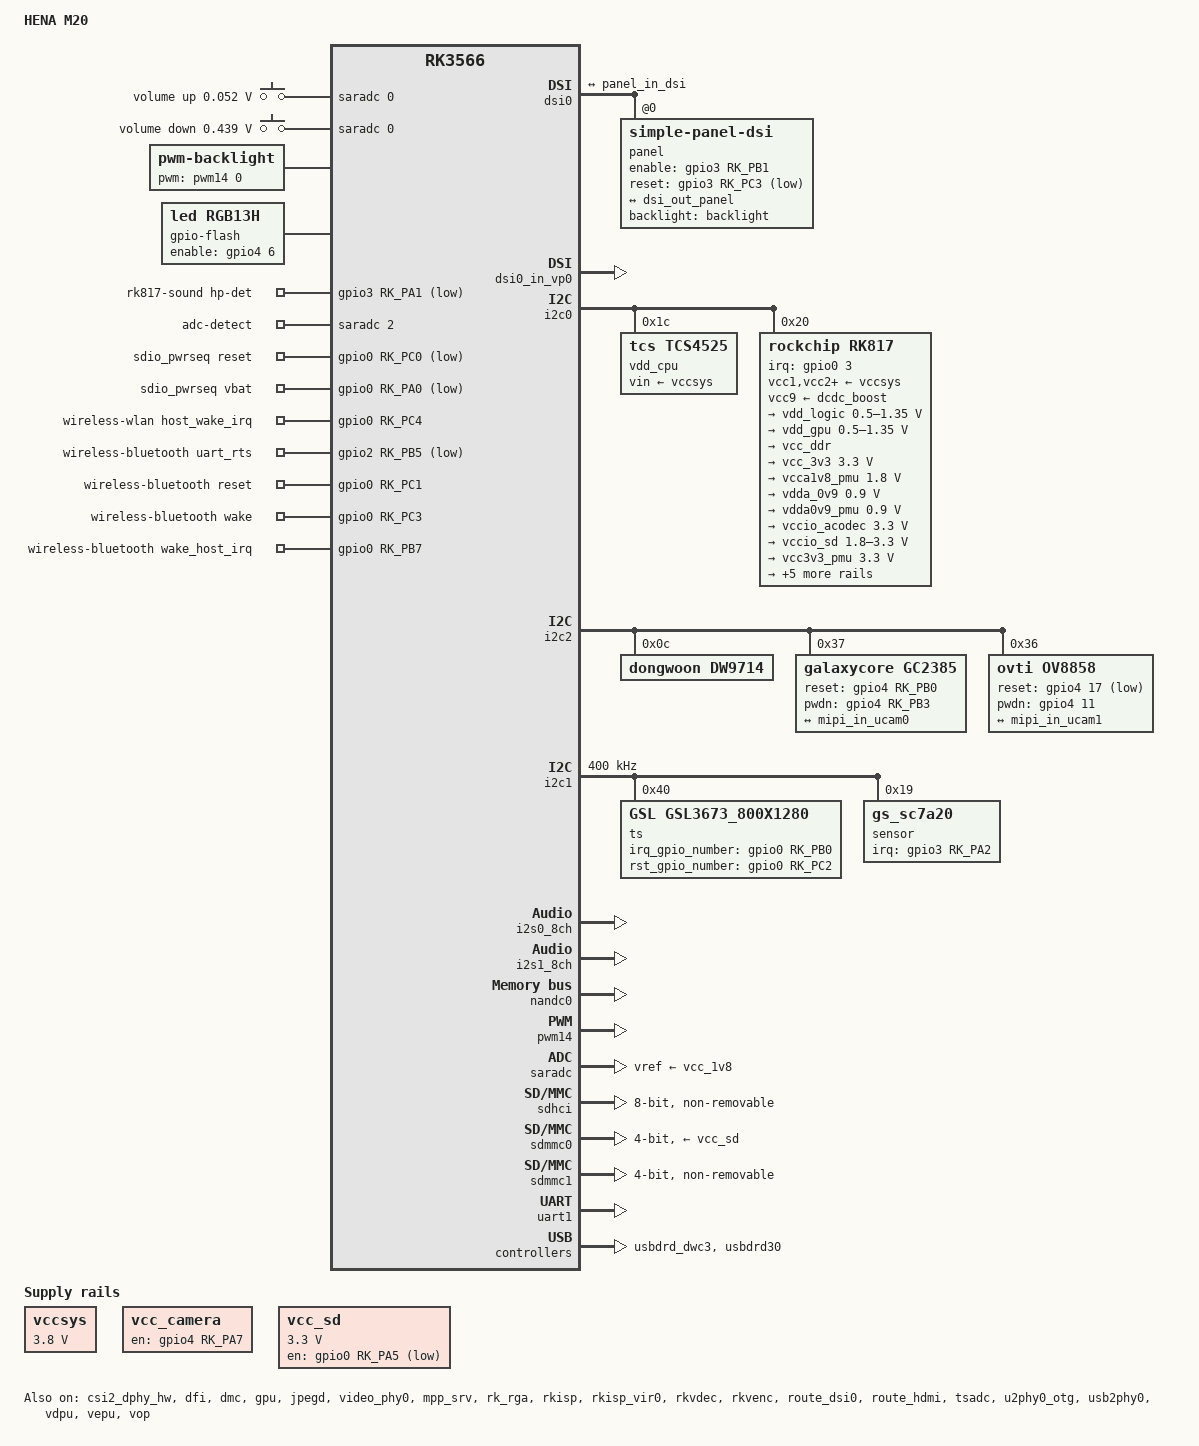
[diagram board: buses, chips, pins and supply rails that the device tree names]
// SPDX-License-Identifier: (GPL-2.0+ OR MIT)

/dts-v1/;
#include <dt-bindings/gpio/gpio.h>
#include <dt-bindings/pinctrl/rockchip.h>
#include <dt-bindings/input/rk-input.h>
#include <dt-bindings/sensor-dev.h>
#include <dt-bindings/display/drm_mipi_dsi.h>
#include "rk3566.dtsi"
#include "rk3568-android.dtsi"

/ {
	model = "HENA M20";
	compatible = "rockchip,rk3566";
	chassis-type = "tablet";

	adc_keys: adc-keys {
		compatible = "adc-keys";
		io-channels = <&saradc 0>;
		io-channel-names = "buttons";
		keyup-threshold-microvolt = <1800000>;
		poll-interval = <100>;

		vol-up-key {
			label = "volume up";
			linux,code = <KEY_VOLUMEUP>;
			press-threshold-microvolt = <52000>;
		};

		vol-down-key {
			label = "volume down";
			linux,code = <KEY_VOLUMEDOWN>;
			press-threshold-microvolt = <439000>;
		};
	};

	backlight: backlight {
		compatible = "pwm-backlight";
		pwms = <&pwm14 0 25000 0>; // bsp
		brightness-levels = <
			  0  20  20  21  21  22  22  23
			 23  24  24  25  25  26  26  27
			 27  28  28  29  29  30  30  31
			 31  32  32  33  33  34  34  35
			 35  36  36  37  37  38  38  39
			 40  41  42  43  44  45  46  47
			 48  49  50  50  51  52  53  54
			 55  55  56  57  58  59  60  61
			 62  63  64  64  65  65  66  67
			 68  69  70  71  71  72  73  74
			 75  76  77  78  79  79  80  81
			 82  83  84  85  86  86  87  88
			 89  90  91  92  93  94  94  95
			 96  97  98  99 100 101 101 102
			103 104 105 106 107 107 108 109
			110 111 112 113 114 115 115 116
			117 118 119 120 121 122 123 123
			124 125 126 127 128 129 130 130
			131 132 133 134 135 136 136 137
			138 139 140 141 142 143 143 144
			145 146 147 147 148 149 150 151
			152 153 154 155 156 156 157 158
			159 157 158 159 160 161 162 162
			163 164 165 166 167 168 169 169
			170 171 172 173 174 175 175 176
			177 178 179 180 181 182 182 183
			184 185 186 187 188 189 190 190
			191 192 193 194 195 196 197 197
			198 199 200 201 202 203 204 204
			205 206 207 208 209 209 210 211
			212 213 213 214 214 215 215 216
			216 217 217 218 218 219 219 220
		>;
		default-brightness-level = <200>;
	};

	charge-animation {
		compatible = "rockchip,uboot-charge";
		rockchip,uboot-charge-on = <1>;
		rockchip,android-charge-on = <0>;
		rockchip,uboot-low-power-voltage = <3350>;
		rockchip,screen-on-voltage = <3400>;
		status = "okay";
	};

	flash_rgb13h: flash-rgb13h {
		status = "okay";
		compatible = "led,rgb13h";
		label = "gpio-flash";
		pinctrl-names = "default";
		pinctrl-0 = <&flash_led_gpios>;
		led-max-microamp = <20000>;
		flash-max-microamp = <20000>;
		flash-max-timeout-us = <1000000>;
		enable-gpio = <&gpio4 6 GPIO_ACTIVE_HIGH>; // bsp
		rockchip,camera-module-index = <0>;
		rockchip,camera-module-facing = "back";
	};

	vccsys: vccsys {
		compatible = "regulator-fixed";
		regulator-name = "vcc3v8_sys";
		regulator-always-on;
		regulator-boot-on;
		regulator-min-microvolt = <3800000>;
		regulator-max-microvolt = <3800000>;
	};

	vcc_camera: vcc-camera-regulator {
		compatible = "regulator-fixed";
		gpio = <&gpio4 RK_PA7 GPIO_ACTIVE_HIGH>;
		pinctrl-names = "default";
		pinctrl-0 = <&camera_rst>;
		regulator-name = "vcc_camera";
		enable-active-high;
		regulator-always-on;
		regulator-boot-on;
	};

	rk817-sound {
		compatible = "rockchip,multicodecs-card";
		rockchip,card-name = "rockchip-rk817";
		hp-det-gpio = <&gpio3 RK_PA1 GPIO_ACTIVE_LOW>; // bsp
		io-channels = <&saradc 2>;
		io-channel-names = "adc-detect";
		keyup-threshold-microvolt = <1800000>;
		poll-interval = <100>;
		rockchip,format = "i2s";
		rockchip,mclk-fs = <256>;
		rockchip,cpu = <&i2s1_8ch>;
		rockchip,codec = <&rk817_codec>;
		pinctrl-names = "default";
		pinctrl-0 = <&hp_det>;
		play-pause-key {
			label = "playpause";
			linux,code = <KEY_PLAYPAUSE>;
			press-threshold-microvolt = <2000>;
		};
	};

	sdio_pwrseq: sdio-pwrseq {
		compatible = "mmc-pwrseq-simple";
		clocks = <&rk817 1>;
		clock-names = "ext_clock";
		pinctrl-names = "default";
		pinctrl-0 = <&wifi_enable_h &wifi_vbat>;

		post-power-on-delay-ms = <200>;
		reset-gpios = <&gpio0 RK_PC0 GPIO_ACTIVE_LOW>; // bsp
		vbat-gpios = <&gpio0 RK_PA0 GPIO_ACTIVE_LOW>; // bsp
	};

	vcc_sd: vcc-sd {
		compatible = "regulator-gpio";
		enable-active-low;
		enable-gpio = <&gpio0 RK_PA5 GPIO_ACTIVE_LOW>; // bsp
		regulator-min-microvolt = <3300000>;
		regulator-max-microvolt = <3300000>;
		pinctrl-names = "default";
		pinctrl-0 = <&vcc_sd_h>;
		regulator-name = "vcc_sd";
		states = <3300000 0x0 3300000 0x1>;
	};

	wireless-wlan {
		compatible = "wlan-platdata";
		rockchip,grf = <&grf>;
		wifi_chip_type = "rtl8723cs";
		pinctrl-names = "default";
		pinctrl-0 = <&wifi_host_wake_irq>;
		WIFI,host_wake_irq = <&gpio0 RK_PC4 GPIO_ACTIVE_HIGH>; // bsp
		status = "okay";
	};

	wireless-bluetooth {
		compatible = "bluetooth-platdata";
		clocks = <&rk817 1>;
		clock-names = "ext_clock";
		//wifi-bt-power-toggle;
		uart_rts_gpios = <&gpio2 RK_PB5 GPIO_ACTIVE_LOW>; // bsp
		pinctrl-names = "default", "rts_gpio";
		pinctrl-0 = <&uart1m0_rtsn>; // bsp
		pinctrl-1 = <&uart1_gpios>,
					<&bt_reset_gpio>,
					<&bt_wake_gpio>,
					<&bt_irq_gpio>;
		BT,reset_gpio    = <&gpio0 RK_PC1 GPIO_ACTIVE_HIGH>;
		BT,wake_gpio     = <&gpio0 RK_PC3 GPIO_ACTIVE_HIGH>;
		BT,wake_host_irq = <&gpio0 RK_PB7 GPIO_ACTIVE_HIGH>;
		status = "okay";
	};
};

&cpu0 {
	cpu-supply = <&vdd_cpu>;
};

&csi2_dphy_hw {
	status = "okay";
};

&csi2_dphy1 {
	// status = "okay";

	ports {
		#address-cells = <1>;
		#size-cells = <0>;
		port@0 {
			reg = <0>;
			#address-cells = <1>;
			#size-cells = <0>;

			mipi_in_ucam0: endpoint@0 {
				reg = <0>;
				remote-endpoint = <&gc2385_out>;
				data-lanes = <1>;
			};
			mipi_in_ucam1: endpoint@1 {
				reg = <1>;
				remote-endpoint = <&ov8858_out>;
				data-lanes = <1 2 3 4>;
			};
		};
		port@1 {
			reg = <1>;
			#address-cells = <1>;
			#size-cells = <0>;

			csidphy0_out: endpoint@0 {
				reg = <0>;
				remote-endpoint = <&isp0_in>;
			};
		};
	};
};

&dfi {
	status = "okay";
};

&dmc {
	center-supply = <&vdd_logic>;
	status = "okay";
};

&dsi0 {
	status = "okay";
	rockchip,lane-rate = <1000>;
	panel@0 {
		compatible = "simple-panel-dsi";
		reg = <0>;

		backlight = <&backlight>;
		//power-supply=<&vcc_3v3>;
		enable-gpios = <&gpio3 RK_PB1 GPIO_ACTIVE_HIGH>;
		reset-gpios = <&gpio3 RK_PC3 GPIO_ACTIVE_LOW>;

		pinctrl-names = "default";
		pinctrl-0 = <&lcd_enable_gpio>, <&lcd_rst_gpio>;

		prepare-delay-ms = <20>;
		reset-delay-ms = <20>;
		init-delay-ms = <20>;
		enable-delay-ms = <120>;
		disable-delay-ms = <20>;
		unprepare-delay-ms = <20>;

		width-mm = <135>;
		height-mm = <216>;

		dsi,flags = <(MIPI_DSI_MODE_VIDEO | MIPI_DSI_MODE_VIDEO_BURST |
			      MIPI_DSI_MODE_LPM | MIPI_DSI_MODE_NO_EOT_PACKET)>;
		dsi,format = <MIPI_DSI_FMT_RGB888>;
		dsi,lanes = <4>;

		panel-init-sequence = [
			15 00 02 E0 00
			15 00 02 E1 93
			15 00 02 E2 65
			15 00 02 E3 F8
			15 00 02 80 03
			15 00 02 E0 04
			15 00 02 2D 03
			15 00 02 09 14
			15 00 02 E0 01
			15 00 02 00 00
			15 00 02 01 6F
			15 00 02 03 00
			15 00 02 04 6F
			15 00 02 0C 74
			15 00 02 17 10
			15 00 02 18 17
			15 00 02 19 00
			15 00 02 1A 10
			15 00 02 1B 17
			15 00 02 1C 00
			15 00 02 1F 7E
			15 00 02 20 24
			15 00 02 21 24
			15 00 02 22 0E
			15 00 02 37 09
			15 00 02 38 04
			15 00 02 39 08
			15 00 02 3A 12
			15 00 02 3C 78
			15 00 02 3D FF
			15 00 02 3E FF
			15 00 02 3F 7F
			15 00 02 40 06
			15 00 02 41 A0
			15 00 02 4B 04
			15 00 02 55 01
			15 00 02 56 01
			15 00 02 57 65
			15 00 02 58 08
			15 00 02 59 28
			15 00 02 5A 2B
			15 00 02 5B 13
			15 00 02 5D 70
			15 00 02 5E 5E
			15 00 02 5F 50
			15 00 02 60 45
			15 00 02 61 42
			15 00 02 62 33
			15 00 02 63 37
			15 00 02 64 21
			15 00 02 65 39
			15 00 02 66 36
			15 00 02 67 36
			15 00 02 68 54
			15 00 02 69 41
			15 00 02 6A 4A
			15 00 02 6B 3D
			15 00 02 6C 3A
			15 00 02 6D 2F
			15 00 02 6E 1F
			15 00 02 6F 02
			15 00 02 70 70
			15 00 02 71 5E
			15 00 02 72 50
			15 00 02 73 45
			15 00 02 74 42
			15 00 02 75 33
			15 00 02 76 37
			15 00 02 77 21
			15 00 02 78 39
			15 00 02 79 36
			15 00 02 7A 36
			15 00 02 7B 54
			15 00 02 7C 41
			15 00 02 7D 4A
			15 00 02 7E 3D
			15 00 02 7F 3A
			15 00 02 80 2F
			15 00 02 81 1F
			15 00 02 82 02
			15 00 02 E0 02
			15 00 02 00 1E
			15 00 02 01 1F
			15 00 02 02 17
			15 00 02 03 37
			15 00 02 04 08
			15 00 02 05 0A
			15 00 02 06 04
			15 00 02 07 06
			15 00 02 08 00
			15 00 02 09 1F
			15 00 02 0A 1F
			15 00 02 0B 1F
			15 00 02 0C 1F
			15 00 02 0D 1F
			15 00 02 0E 1F
			15 00 02 0F 02
			15 00 02 10 1F
			15 00 02 11 1F
			15 00 02 12 1F
			15 00 02 13 1F
			15 00 02 14 1F
			15 00 02 15 1F
			15 00 02 16 1E
			15 00 02 17 1F
			15 00 02 18 17
			15 00 02 19 37
			15 00 02 1A 09
			15 00 02 1B 0B
			15 00 02 1C 05
			15 00 02 1D 07
			15 00 02 1E 01
			15 00 02 1F 1F
			15 00 02 20 1F
			15 00 02 21 1F
			15 00 02 22 1F
			15 00 02 23 1F
			15 00 02 24 1F
			15 00 02 25 03
			15 00 02 26 1F
			15 00 02 27 1F
			15 00 02 28 1F
			15 00 02 29 1F
			15 00 02 2A 1F
			15 00 02 2B 1F
			15 00 02 2C 1F
			15 00 02 2D 1E
			15 00 02 2E 17
			15 00 02 2F 37
			15 00 02 30 07
			15 00 02 31 05
			15 00 02 32 0B
			15 00 02 33 09
			15 00 02 34 03
			15 00 02 35 1F
			15 00 02 36 1F
			15 00 02 37 1F
			15 00 02 38 1F
			15 00 02 39 1F
			15 00 02 3A 1F
			15 00 02 3B 01
			15 00 02 3C 1F
			15 00 02 3D 1F
			15 00 02 3E 1F
			15 00 02 3F 1F
			15 00 02 40 1F
			15 00 02 41 1F
			15 00 02 42 1F
			15 00 02 43 1E
			15 00 02 44 17
			15 00 02 45 37
			15 00 02 46 06
			15 00 02 47 04
			15 00 02 48 0A
			15 00 02 49 08
			15 00 02 4A 02
			15 00 02 4B 1F
			15 00 02 4C 1F
			15 00 02 4D 1F
			15 00 02 4E 1F
			15 00 02 4F 1F
			15 00 02 50 1F
			15 00 02 51 00
			15 00 02 52 1F
			15 00 02 53 1F
			15 00 02 54 1F
			15 00 02 55 1F
			15 00 02 56 1F
			15 00 02 57 1F
			15 00 02 58 10
			15 00 02 59 00
			15 00 02 5A 00
			15 00 02 5B 30
			15 00 02 5C 05
			15 00 02 5D 30
			15 00 02 5E 01
			15 00 02 5F 02
			15 00 02 60 30
			15 00 02 61 03
			15 00 02 62 04
			15 00 02 63 03
			15 00 02 64 6A
			15 00 02 65 75
			15 00 02 66 0D
			15 00 02 67 73
			15 00 02 68 09
			15 00 02 69 06
			15 00 02 6A 6A
			15 00 02 6B 08
			15 00 02 6C 00
			15 00 02 6D 0C
			15 00 02 6E 04
			15 00 02 6F 88
			15 00 02 70 00
			15 00 02 71 00
			15 00 02 72 06
			15 00 02 73 7B
			15 00 02 74 00
			15 00 02 75 80
			15 00 02 76 00
			15 00 02 77 0D
			15 00 02 78 24
			15 00 02 79 00
			15 00 02 7A 00
			15 00 02 7B 00
			15 00 02 7C 00
			15 00 02 7D 03
			15 00 02 7E 7B
			15 00 02 E0 04
			15 00 02 09 10
			15 00 02 2B 2B
			15 00 02 2E 44
			15 00 02 E0 00
			15 00 02 E6 02
			15 00 02 E7 02
			05 78 01 11
			05 14 01 29
			15 00 02 35 00
		];

		panel-exit-sequence = [
			05 00 01 28
			05 00 01 10
		];

		display-timings {
			native-mode = <&timing0>;

			timing0: timing0 {
				clock-frequency = <70000000>;
				hactive = <800>;
				vactive = <1280>;

				hfront-porch = <40>;
				hsync-len = <20>;
				hback-porch = <20>;

				vfront-porch = <20>;
				vsync-len = <4>;
				vback-porch = <20>;

				hsync-active = <0>;
				vsync-active = <0>;
				de-active = <0>;
				pixelclk-active = <1>;
			};
		};

		ports {
			#address-cells = <1>;
			#size-cells = <0>;

			port@0 {
				reg = <0>;
				panel_in_dsi: endpoint {
					remote-endpoint = <&dsi_out_panel>;
				};
			};
		};
	};

	ports {
		#address-cells = <1>;
		#size-cells = <0>;

		port@1 {
			reg = <1>;
			dsi_out_panel: endpoint {
				remote-endpoint = <&panel_in_dsi>;
			};
		};
	};

};

&dsi0_in_vp0 {
	status = "okay";
};

&dsi0_in_vp1 {
	status = "disabled";
};

&gpu {
	mali-supply = <&vdd_gpu>;
	status = "okay";
};

&i2c0 {
	status = "okay";

	vdd_cpu: tcs4525@1c {
		compatible = "tcs,tcs4525";
		reg = <0x1c>;
		vin-supply = <&vccsys>;
		regulator-compatible = "fan53555-reg";
		regulator-name = "vdd_cpu";
		regulator-min-microvolt = <712500>;
		regulator-max-microvolt = <1390000>;
		regulator-init-microvolt = <900000>;
		regulator-ramp-delay = <2300>;
		fcs,suspend-voltage-selector = <1>;
		regulator-boot-on;
		regulator-always-on;
		regulator-state-mem {
			regulator-off-in-suspend;
		};
	};

	rk817: pmic@20 {
		compatible = "rockchip,rk817";
		reg = <0x20>;
		interrupt-parent = <&gpio0>;
		interrupts = <3 IRQ_TYPE_LEVEL_LOW>;

		pinctrl-names = "default", "pmic-sleep",
				"pmic-power-off", "pmic-reset";
		pinctrl-0 = <&pmic_int>;
		pinctrl-1 = <&soc_slppin_slp>, <&rk817_slppin_slp>;
		pinctrl-2 = <&soc_slppin_gpio>, <&rk817_slppin_pwrdn>;
		pinctrl-3 = <&soc_slppin_gpio>, <&rk817_slppin_rst>;
		rockchip,system-power-controller;
		wakeup-source;
		#clock-cells = <1>;
		clock-output-names = "rk808-clkout1", "rk808-clkout2";
		//fb-inner-reg-idxs = <2>;
		/* 1: rst regs (default in codes), 0: rst the pmic */
		pmic-reset-func = <0>;
		/* not save the PMIC_POWER_EN register in uboot */
		not-save-power-en = <1>;

		vcc1-supply = <&vccsys>;
		vcc2-supply = <&vccsys>;
		vcc3-supply = <&vccsys>;
		vcc4-supply = <&vccsys>;
		vcc5-supply = <&vccsys>;
		vcc6-supply = <&vccsys>;
		vcc7-supply = <&vccsys>;
		vcc8-supply = <&vccsys>;
		vcc9-supply = <&dcdc_boost>;

		pwrkey {
			status = "okay";
		};

		pinctrl_rk8xx: pinctrl_rk8xx {
			gpio-controller;
			#gpio-cells = <2>;

			rk817_slppin_null: rk817_slppin_null {
				pins = "gpio_slp";
				function = "pin_fun0";
			};

			rk817_slppin_slp: rk817_slppin_slp {
				pins = "gpio_slp";
				function = "pin_fun1";
			};

			rk817_slppin_pwrdn: rk817_slppin_pwrdn {
				pins = "gpio_slp";
				function = "pin_fun2";
			};

			rk817_slppin_rst: rk817_slppin_rst {
				pins = "gpio_slp";
				function = "pin_fun3";
			};
		};

		regulators {
			vdd_logic: DCDC_REG1 {
				regulator-always-on;
				regulator-boot-on;
				regulator-min-microvolt = <500000>;
				regulator-max-microvolt = <1350000>;
				regulator-init-microvolt = <900000>;
				regulator-ramp-delay = <6001>;
				regulator-initial-mode = <0x2>;
				regulator-name = "vdd_logic";
				regulator-state-mem {
					regulator-off-in-suspend;
					regulator-suspend-microvolt = <900000>;
				};
			};

			vdd_gpu: DCDC_REG2 {
				regulator-always-on;
				regulator-boot-on;
				regulator-min-microvolt = <500000>;
				regulator-max-microvolt = <1350000>;
				regulator-init-microvolt = <900000>;
				regulator-ramp-delay = <6001>;
				regulator-initial-mode = <0x2>;
				regulator-name = "vdd_gpu";
				regulator-state-mem {
					regulator-off-in-suspend;
				};
			};

			vcc_ddr: DCDC_REG3 {
				regulator-always-on;
				regulator-boot-on;
				regulator-initial-mode = <0x2>;
				regulator-name = "vcc_ddr";
				regulator-state-mem {
					regulator-on-in-suspend;
				};
			};

			vcc_3v3: DCDC_REG4 {
				regulator-always-on;
				regulator-boot-on;
				regulator-min-microvolt = <3300000>;
				regulator-max-microvolt = <3300000>;
				regulator-initial-mode = <0x2>;
				regulator-name = "vcc_3v3";
				regulator-state-mem {
					regulator-off-in-suspend;
				};
			};

			vcca1v8_pmu: LDO_REG1 {
				regulator-always-on;
				regulator-boot-on;
				regulator-min-microvolt = <1800000>;
				regulator-max-microvolt = <1800000>;
				regulator-name = "vcca1v8_pmu";
				regulator-state-mem {
					regulator-on-in-suspend;
					regulator-suspend-microvolt = <1800000>;
				};
			};

			vdda_0v9: LDO_REG2 {
				regulator-always-on;
				regulator-boot-on;
				regulator-min-microvolt = <900000>;
				regulator-max-microvolt = <900000>;
				regulator-name = "vdda_0v9";
				regulator-state-mem {
					regulator-off-in-suspend;
				};
			};

			vdda0v9_pmu: LDO_REG3 {
				regulator-always-on;
				regulator-boot-on;
				regulator-min-microvolt = <900000>;
				regulator-max-microvolt = <900000>;
				regulator-name = "vdda0v9_pmu";
				regulator-state-mem {
					regulator-on-in-suspend;
					regulator-suspend-microvolt = <900000>;
				};
			};

			vccio_acodec: LDO_REG4 {
				regulator-always-on;
				regulator-boot-on;
				regulator-min-microvolt = <3300000>;
				regulator-max-microvolt = <3300000>;
				regulator-name = "vccio_acodec";
				regulator-state-mem {
					regulator-off-in-suspend;
				};
			};

			vccio_sd: LDO_REG5 {
				regulator-always-on;
				regulator-boot-on;
				regulator-min-microvolt = <1800000>;
				regulator-max-microvolt = <3300000>;
				regulator-name = "vccio_sd";
				regulator-state-mem {
					regulator-off-in-suspend;
				};
			};

			vcc3v3_pmu: LDO_REG6 {
				regulator-always-on;
				regulator-boot-on;
				regulator-min-microvolt = <3300000>;
				regulator-max-microvolt = <3300000>;
				regulator-name = "vcc3v3_pmu";
				regulator-state-mem {
					regulator-on-in-suspend;
					regulator-suspend-microvolt = <3000000>;
				};
			};

			vcc_1v8: LDO_REG7 {
				regulator-always-on;
				regulator-boot-on;
				regulator-min-microvolt = <1800000>;
				regulator-max-microvolt = <1800000>;
				regulator-name = "vcc_1v8";
				regulator-state-mem {
					regulator-off-in-suspend;
				};
			};

			vcc1v8_dvp: LDO_REG8 {
				regulator-always-on;
				regulator-boot-on;
				regulator-min-microvolt = <1800000>;
				regulator-max-microvolt = <1800000>;
				regulator-name = "vcc1v8_dvp";
				regulator-state-mem {
					regulator-off-in-suspend;
				};
			};

			vcc2v8_dvp: LDO_REG9 {
				regulator-always-on;
				regulator-boot-on;
				regulator-min-microvolt = <2800000>;
				regulator-max-microvolt = <2800000>;
				regulator-name = "vcc2v8_dvp";
				regulator-state-mem {
					regulator-off-in-suspend;
				};
			};

			dcdc_boost: BOOST {
				regulator-always-on;
				regulator-boot-on;
				regulator-min-microvolt = <5000000>;
				regulator-max-microvolt = <5000000>;
				regulator-name = "boost";
				regulator-state-mem {
					regulator-off-in-suspend;
				};
			};

			otg_switch: OTG_SWITCH {
				regulator-name = "otg_switch";
				regulator-state-mem {
					regulator-off-in-suspend;
				};
			};
		};

		battery {
			compatible = "rk817,battery";
			ocv_table = <3400 3513 3578 3687 3734 3752 3763
				     3766 3771 3784 3804 3836 3885 3925
				     3962 4005 4063 4114 4169 4227 4303>;
			design_capacity = <3553>;
			design_qmax = <3908>;
			bat_res = <100>;
			sleep_enter_current = <150>;
			sleep_exit_current = <180>;
			sleep_filter_current = <100>;
			power_off_thresd = <3350>;
			zero_algorithm_vol = <3850>;
			max_soc_offset = <60>;
			monitor_sec = <5>;
			sample_res = <10>;
			virtual_power = <0>;
		};

		charger {
			compatible = "rk817,charger";
			min_input_voltage = <4500>;
			max_input_current = <1500>;
			max_chrg_current = <2000>;
			max_chrg_voltage = <4300>;
			chrg_term_mode = <0>;
			chrg_finish_cur = <300>;
			virtual_power = <0>;
			dc_det_adc = <0>;
			extcon = <&usb2phy0>;
			gate_function_disable = <1>;
		};

		rk817_codec: codec {
			#sound-dai-cells = <0>;
			compatible = "rockchip,rk817-codec";
			clocks = <&cru I2S1_MCLKOUT>;
			clock-names = "mclk";
			assigned-clocks = <&cru I2S1_MCLKOUT>, <&cru I2S1_MCLK_TX_IOE>;
			assigned-clock-rates = <12288000>;
			assigned-clock-parents = <&cru I2S1_MCLKOUT_TX>, <&cru I2S1_MCLKOUT_TX>;
			pinctrl-names = "default";
			pinctrl-0 = <&i2s1m0_mclk>;
			hp-volume = <20>;
			spk-volume = <3>;
			out-l2spk-r2hp;
			spk-ctl-gpios = <&gpio3 RK_PA2 GPIO_ACTIVE_HIGH>; // bsp
			status = "okay";
		};
	};
};

&i2c2 {
	status = "okay";
	pinctrl-0 = <&i2c2m1_xfer>;

	dw9714: dw9714@c {
		compatible = "dongwoon,dw9714";
		status = "okay";
		reg = <0x0c>;
		rockchip,camera-module-index = <0>;
		rockchip,vcm-start-current = <10>;
		rockchip,vcm-rated-current = <50>;
		rockchip,vcm-step-mode = <5>;
		rockchip,camera-module-facing = "back";
	};

	gc2385: gc2385@37 {
		compatible = "galaxycore,gc2385";
		status = "okay";
		reg = <0x37>;
		clocks = <&cru CLK_CIF_OUT>;
		clock-names = "xvclk";
		power-domains = <&power RK3568_PD_VI>;
		pinctrl-names = "rockchip,camera_default";
		pinctrl-0 = <&cif_clk>;

		reset-gpios = <&gpio4 RK_PB0 GPIO_ACTIVE_HIGH>; // bsp
		pwdn-gpios = <&gpio4 RK_PB3 GPIO_ACTIVE_HIGH>; // bsp
		rockchip,camera-module-index = <1>;
		rockchip,camera-module-facing = "front";
		rockchip,camera-module-name = "KYT-4877-V01";
		rockchip,camera-module-lens-name = "default";
		port {
			gc2385_out: endpoint {
				remote-endpoint = <&mipi_in_ucam0>;
				data-lanes = <1>;
			};
		};
	};

	ov8858: ov8858@36 {
		status = "okay";
		compatible = "ovti,ov8858";
		reg = <0x36>;
		clocks = <&cru CLK_CAM0_OUT>;
		clock-names = "xvclk";
		power-domains = <&power RK3568_PD_VI>;
		pinctrl-names = "rockchip,camera_default", "rockchip,camera_sleep";
		pinctrl-0 = <&cam_clkout0>;
		pinctrl-1 = <&cam_sleep>;
		//reset pin control by hardware,used this pin switch to mipi input
		//1->2LANE(LANE 0&1) FRONT camera, 0->4LANE REAR camera
		reset-gpios = <&gpio4 17 GPIO_ACTIVE_LOW>;
		pwdn-gpios = <&gpio4 11 GPIO_ACTIVE_HIGH>;
		rockchip,camera-module-index = <0>;
		rockchip,camera-module-facing = "back";
		rockchip,camera-module-name = "HS5885-BNSM1018-V01";
		rockchip,camera-module-lens-name = "default";
		flash-leds = <&flash_rgb13h>;
		lens-focus = <&dw9714>;
		port {
			ov8858_out: endpoint {
				remote-endpoint = <&mipi_in_ucam1>;
				data-lanes = <1 2 3 4>;
			};
		};
	};
};

&i2c1 {
	status = "okay";
	clock-frequency = <400000>;
	i2c-scl-rising-time-ns = <138>;
	i2c-scl-falling-time-ns = <4>;

	ts@40 {
		compatible = "GSL,GSL3673_800X1280";
		reg = <0x40>;
		irq_gpio_number = <&gpio0 RK_PB0 GPIO_ACTIVE_HIGH>;
		rst_gpio_number = <&gpio0 RK_PC2 GPIO_ACTIVE_HIGH>;
		pinctrl-names = "default";
		pinctrl-0 = <&tp_gpio>;
	};

	sensor@19 {
		compatible = "gs_sc7a20";
		reg = <0x19>;
		type = <SENSOR_TYPE_ACCEL>;
		irq_enable = <0>;
		pinctrl-names = "default";
		pinctrl-0 = <&sensor_gpio>;
		irq-gpio = <&gpio3 RK_PA2 IRQ_TYPE_EDGE_RISING>;
		poll_delay_ms = <10>;
		layout = <1>;
	};
};

&i2s0_8ch {
	status = "okay";
};

&i2s1_8ch {
	status = "okay";
	rockchip,trcm-sync-tx-only;
	pinctrl-names = "default";
	pinctrl-0 = <&i2s1m0_sclktx
		     &i2s1m0_lrcktx
		     &i2s1m0_sdi0
		     &i2s1m0_sdo0>;
};

&jpegd {
	status = "okay";
};

&jpegd_mmu {
	status = "okay";
};

&video_phy0 {
	status = "okay";
};

&mpp_srv {
	status = "okay";
};

&nandc0 {
	status = "okay";
};

&pinctrl {
	cam {
		cam_clkout0: cam-clkout0 {
			rockchip,pins =
				/* cam_clkout0 */
				<4 RK_PA7 1 &pcfg_pull_none>;
		};

		cam_sleep: cam-sleep {
			rockchip,pins =
				/* cam_sleep */
				<4 RK_PA7 RK_FUNC_GPIO &pcfg_pull_none>;
		};

		camera_rst: camera-rst {
			rockchip,pins =
				/* front camera reset */
				<4 RK_PB0 RK_FUNC_GPIO &pcfg_pull_none>,
				/* back camra reset */
				<4 RK_PB1 RK_FUNC_GPIO &pcfg_pull_none>;
		};

		flash_led_gpios: flash-led {
			rockchip,pins =
				/* flash led enable */
				<4 RK_PA6 RK_FUNC_GPIO &pcfg_pull_none>;
		};
	};

	tp {
		tp_gpio: tp-gpio {
			rockchip,pins = <0 RK_PB0 RK_FUNC_GPIO &pcfg_pull_up>, // bsp
					<0 RK_PC2 RK_FUNC_GPIO &pcfg_pull_none>;
		};
	};

	headphone {
		hp_det: hp-det {
			rockchip,pins = <3 RK_PA1 RK_FUNC_GPIO &pcfg_pull_down>; // bsp
		};
	};

	lcd {
		lcd_rst_gpio: lcd-rst-gpio {
			rockchip,pins = <3 RK_PC3 RK_FUNC_GPIO &pcfg_pull_none>;
		};

		lcd_enable_gpio: lcd-enable-gpio {
			rockchip,pins = <3 RK_PB1 RK_FUNC_GPIO &pcfg_pull_none>;
		};
	};

	pmic {
		pmic_int: pmic_int {
			rockchip,pins =
				<0 RK_PA3 RK_FUNC_GPIO &pcfg_pull_up>;
		};

		soc_slppin_gpio: soc_slppin_gpio {
			rockchip,pins =
				<0 RK_PA2 RK_FUNC_GPIO &pcfg_output_low>;
		};

		soc_slppin_slp: soc_slppin_slp {
			rockchip,pins =
				<0 RK_PA2 1 &pcfg_pull_none>;
		};

		soc_slppin_rst: soc_slppin_rst {
			rockchip,pins =
				<0 RK_PA2 2 &pcfg_pull_none>;
		};
	};

	sensor {
		sensor_gpio: sensor-gpio {
			rockchip,pins = <3 RK_PA2 RK_FUNC_GPIO &pcfg_pull_none>; // bsp
		};
	};

	sdio-pwrseq {
		wifi_enable_h: wifi-enable-h {
			rockchip,pins = <0 RK_PC0 RK_FUNC_GPIO &pcfg_pull_none>; // bsp
		};
		wifi_vbat: wifi-vbat {
			rockchip,pins = <0 RK_PA0 RK_FUNC_GPIO &pcfg_pull_none>; // bsp
		};
	};

	vcc_sd {
		vcc_sd_h: vcc-sd-h {
			rockchip,pins = <0 RK_PA5 RK_FUNC_GPIO &pcfg_pull_none>; // bsp
		};
	};

	wireless-wlan {
		wifi_host_wake_irq: wifi-host-wake-irq {
			rockchip,pins = <0 RK_PC4 RK_FUNC_GPIO &pcfg_pull_down>; // bsp
		};
	};

	/delete-node/ wireless-bluetooth;
	wireless-bluetooth {
		uart1_gpios: uart1-gpios {
			rockchip,pins = <2 RK_PB5 RK_FUNC_GPIO &pcfg_pull_none>; // bsp
		};

		bt_reset_gpio: bt-reset-gpio {
			rockchip,pins = <0 RK_PC1 RK_FUNC_GPIO &pcfg_pull_down>; // bsp
		};

		bt_wake_gpio: bt-wake-gpio {
			rockchip,pins = <0 RK_PC3 RK_FUNC_GPIO &pcfg_pull_down>; // bsp
		};

		bt_irq_gpio: bt-irq-gpio {
			rockchip,pins = <0 RK_PB7 RK_FUNC_GPIO &pcfg_pull_down>; // bsp
		};
	};
};

&pmu_io_domains {
	status = "okay";
	pmuio1-supply = <&vcc3v3_pmu>;
	pmuio2-supply = <&vcc3v3_pmu>;
	vccio1-supply = <&vccio_acodec>;
	vccio3-supply = <&vccio_sd>;
	vccio4-supply = <&vcca1v8_pmu>;
	vccio5-supply = <&vcc_1v8>;
	vccio6-supply = <&vcc1v8_dvp>;
	vccio7-supply = <&vcc_3v3>;
};

&pwm14 {
	status = "okay";
};

&rk_rga {
	status = "okay";
};

&rkisp {
	status = "okay";
};

&rkisp_mmu {
	status = "okay";
};

&rkisp_vir0 {
	status = "okay";

	port {
		#address-cells = <1>;
		#size-cells = <0>;

		isp0_in: endpoint@0 {
			reg = <0>;
			remote-endpoint = <&csidphy0_out>;
		};
	};
};

&rkvdec {
	status = "okay";
};

&rkvdec_mmu {
	status = "okay";
};

&rkvenc {
	status = "okay";
};

&rkvenc_mmu {
	status = "okay";
};

&route_dsi0 {
	status = "okay";
};

&route_hdmi {
	status = "okay";
	connect = <&vp0_out_hdmi>;
};

&saradc {
	status = "okay";
	vref-supply = <&vcc_1v8>;
};

&sdhci {
	bus-width = <8>;
	no-sdio;
	no-sd;
	non-removable;
	max-frequency = <200000000>;
	status = "okay";
};

&sdmmc0 {
	max-frequency = <150000000>;
	no-sdio;
	no-mmc;
	bus-width = <4>;
	cap-mmc-highspeed;
	cap-sd-highspeed;
	disable-wp;
	sd-uhs-sdr104;
	vmmc-supply = <&vcc_sd>;
	vqmmc-supply = <&vccio_sd>;
	pinctrl-names = "default";
	pinctrl-0 = <&sdmmc0_bus4 &sdmmc0_clk &sdmmc0_cmd &sdmmc0_det>;
	status = "okay";
};

&sdmmc1 {
	max-frequency = <150000000>;
	no-sd;
	no-mmc;
	bus-width = <4>;
	disable-wp;
	cap-sd-highspeed;
	cap-sdio-irq;
	keep-power-in-suspend;
	mmc-pwrseq = <&sdio_pwrseq>;
	non-removable;
	pinctrl-names = "default";
	pinctrl-0 = <&sdmmc1_bus4 &sdmmc1_cmd &sdmmc1_clk>;
	sd-uhs-sdr104;
	rockchip,default-sample-phase = <90>;
	status = "okay";
};

&tsadc {
	status = "okay";
};

&uart1 {
	status = "okay";
	pinctrl-names = "default";
	pinctrl-0 = <&uart1m0_xfer &uart1m0_ctsn>;
};

&u2phy0_otg {
	status = "okay";
};

&usb2phy0 {
	status = "okay";
};

&usbdrd_dwc3 {
	status = "okay";
};

&usbdrd30 {
	status = "okay";
};

&vdpu {
	status = "okay";
};

&vdpu_mmu {
	status = "okay";
};

&vepu {
	status = "okay";
};

&vepu_mmu {
	status = "okay";
};

&vop {
	vop-supply = <&vdd_logic>;
	status = "okay";
};

&vop_mmu {
	status = "okay";
};
